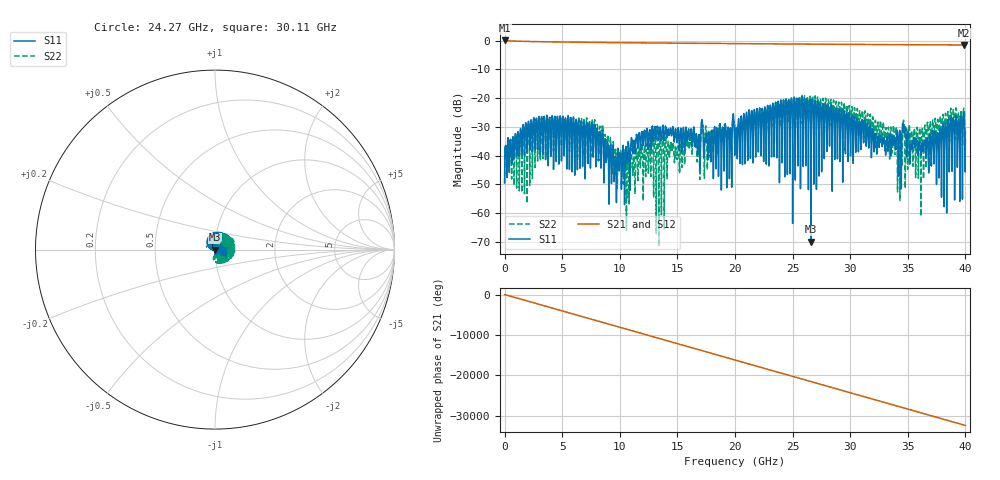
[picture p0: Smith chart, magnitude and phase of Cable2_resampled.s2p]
# MHz MA S R 50.0
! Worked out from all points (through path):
!   8000 points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, 5 MHz to 40 GHz, reference 50 ohm
!   highest |S21| = 0.02 dB at 5 MHz (marker M1); lowest = -1.6 dB at 39.88 GHz (marker M2)
!   group delay of S21, straight-line fit = 2.25 ns
!   lowest |S11| = -69.9 dB at 26.61 GHz (marker M3), VSWR 1.00, Z = 50 + j0.0115 ohm
!   |S11| at or under -10 dB: start of sweep to end of sweep
!   |S22| runs from -71.4 to -18.8 dB; largest |S21 - S12| = 0.01
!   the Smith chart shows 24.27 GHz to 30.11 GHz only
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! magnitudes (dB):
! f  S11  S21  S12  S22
! 5 MHz  -49.2  0.0  0.0  -49.8
! 215 MHz  -47.4  -0.1  -0.1  -43.4
! 2.185 GHz  -37.6  -0.3  -0.3  -50.4
! 6.675 GHz  -28.4  -0.6  -0.6  -26.9
! 8.385 GHz  -42.8  -0.7  -0.7  -42.6
! 9.625 GHz  -41.0  -0.7  -0.7  -38.0
! 10.69 GHz  -40.8  -0.8  -0.8  -44.4
! 11.06 GHz  -35.0  -0.8  -0.8  -42.3
! 13.34 GHz  -32.1  -0.9  -0.9  -36.8
! 17.77 GHz  -32.2  -1.0  -1.0  -33.4
! 20 GHz  -36.8  -1.1  -1.1  -30.1
! 26.61 GHz  -69.9  -1.3  -1.3  -27.1
! 26.67 GHz  -22.8  -1.3  -1.3  -21.9
! 33.34 GHz  -37.3  -1.4  -1.4  -30.7
! 33.88 GHz  -33.9  -1.4  -1.4  -39.4
! 34.3 GHz  -31.3  -1.4  -1.4  -44.8
! 34.67 GHz  -31.8  -1.5  -1.5  -28.4
! 35.08 GHz  -32.4  -1.5  -1.5  -30.5
! 36.02 GHz  -35.6  -1.5  -1.5  -30.5
! 38.84 GHz  -45.4  -1.5  -1.5  -32.1
! 39.88 GHz  -25.3  -1.6  -1.6  -23.5
! 40 GHz  -34.5  -1.5  -1.5  -31.5
